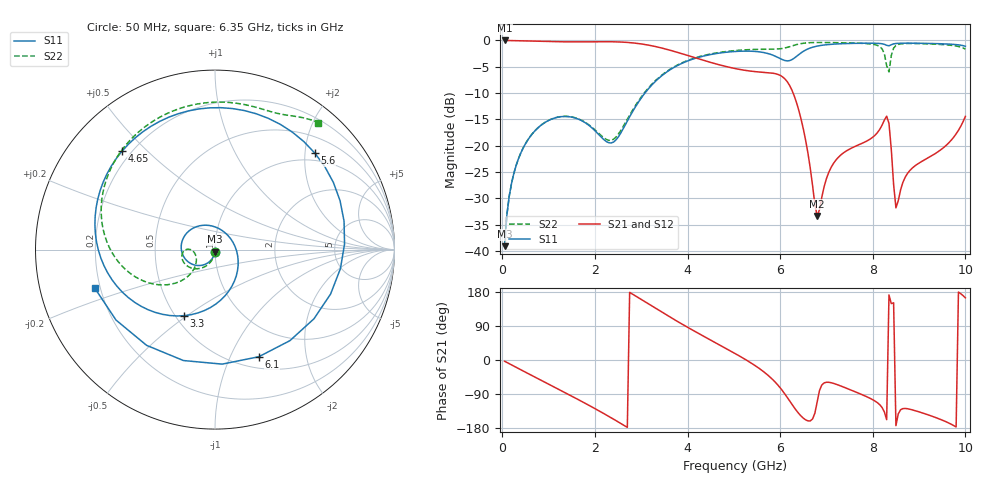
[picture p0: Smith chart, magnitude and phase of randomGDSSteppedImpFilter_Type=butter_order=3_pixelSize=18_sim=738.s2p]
! freq	dB(S11)	phase(S11)	dB(S12)	phase(S12)
!  dB(S21)	phase(S21)	dB(S22)	phase(S22)
!S-par simulation data
#  GHz  S  DB  R 50
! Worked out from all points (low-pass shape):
!   200 points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, 50 MHz to 10 GHz, reference 50 ohm
!   highest |S21| = 0.00 dB at 50 MHz (marker M1); lowest = -33.4 dB at 6.8 GHz (marker M2)
!   |S21| within 3 dB of the highest: start of sweep to 4.057 GHz
!   lowest |S11| = -39.1 dB at 50 MHz (marker M3), VSWR 1.02, Z = 49.9 - j1.11 ohm
!   |S11| at or under -10 dB: start of sweep to 3.08 GHz
!   |S22| runs from -39.1 to -0.4 dB; largest |S21 - S12| = 0
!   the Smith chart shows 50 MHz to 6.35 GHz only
!   S11 on the Smith chart (normalised r, x): 50 MHz: 1.00, -0.02; 3.3 GHz: 0.55, -0.49; 4.65 GHz: 0.17, +0.42; 5.6 GHz: 0.83, +2.21; 6.1 GHz: 0.63, -1.29; 6.35 GHz: 0.18, -0.15
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0.05  -39.09 -93.2  -0.00 -3.3  -0.00 -3.3  -39.07 -92.5
0.2  -27.13 -104.3  -0.03 -13.0  -0.03 -13.0  -27.12 -101.5
0.55  -18.92 -129.7  -0.11 -35.3  -0.11 -35.3  -18.91 -121.7
1.75  -15.42 134.3  -0.26 -111.6  -0.26 -111.6  -15.35 -178.1
2.6  -16.95 -24.8  -0.32 -170.5  -0.32 -170.5  -16.51 -139.0
3.3  -7.83 -115.0  -1.15 137.1  -1.15 137.1  -7.69 -153.3
3.4  -7.02 -124.5  -1.35 129.6  -1.35 129.6  -6.90 -158.6
4.05  -3.74 -179.8  -2.98 83.0  -2.98 83.0  -3.65 164.3
4.65  -2.45 133.3  -4.55 42.5  -4.55 42.5  -2.33 131.0
5.05  -2.08 100.9  -5.38 15.5  -5.38 15.5  -1.90 109.9
5.6  -2.23 44.0  -6.03 -26.9  -6.03 -26.9  -1.68 82.7
5.9  -3.01 -8.6  -6.32 -59.3  -6.32 -59.3  -1.65 69.7
6.1  -3.81 -67.8  -7.28 -89.4  -7.28 -89.4  -1.44 62.2
6.35  -3.05 -162.3  -11.72 -133.2  -11.72 -133.2  -0.79 50.9
6.7  -1.29 114.1  -27.56 -155.6  -27.56 -155.6  -0.41 31.3
6.8  -1.07 99.4  -33.37 -109.7  -33.37 -109.7  -0.39 26.0
7.5  -0.57 35.2  -20.63 -77.8  -20.63 -77.8  -0.47 -8.2
8.2  -0.63 -6.4  -16.11 -125.3  -16.11 -125.3  -1.58 -48.2
8.35  -1.02 -11.7  -15.77 171.7  -15.77 171.7  -5.99 -29.3
8.5  -0.58 -18.0  -31.80 -173.3  -31.80 -173.3  -0.97 -34.7
9.2  -0.57 -49.6  -22.28 -144.9  -22.28 -144.9  -0.65 -72.5
10  -1.11 -84.5  -14.43 164.0  -14.43 164.0  -1.66 -113.3
